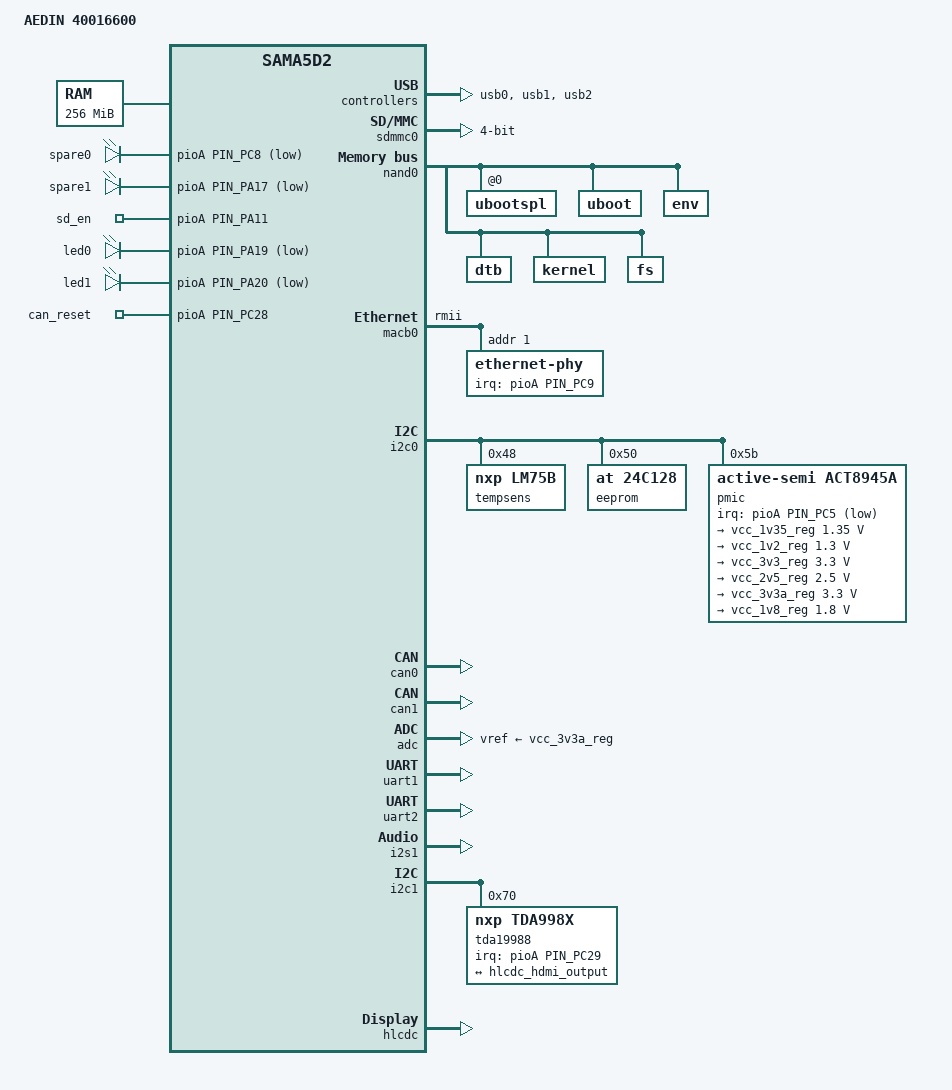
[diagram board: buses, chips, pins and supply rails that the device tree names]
/*
 * at91-sama5d2_aedin.dts - Device Tree file for the AEMICS DIN module processing board
 *
 *  Copyright (C) 2016 AEMICS
 */
/dts-v1/;
#include "sama5d2.dtsi"
#include "sama5d2-pinfunc.h"
#include <dt-bindings/gpio/gpio.h>

/ {
	model = "AEDIN 40016600";
	compatible = "atmel,sama5d2-aedin", "atmel,sama5d2", "atmel,sama5";

	chosen {
		stdout-path = "uart2:115200n8";
	};

	/* 64M x 16 x 2 = 256MB */
	memory {
		reg = <0x20000000 0x10000000>;
	};

	clocks {
		slow_xtal {
			clock-frequency = <32768>;
		};

		main_xtal {
			clock-frequency = <12000000>;
		};
	};
	
	outputs {
		compatible = "gpio-leds";
		pinctrl-names = "default";
		pinctrl-0 = <&pinctrl_spare_default &pinctrl_sdmmc0_pwren &pinctrl_leds_default &pinctrl_control_reset>;
		
		/* spare */
		spare0 {
			label = "spare0";
			gpios = <&pioA PIN_PC8 GPIO_ACTIVE_LOW>;
			linux,default-trigger = "heartbeat";
		};
		spare1 {
			label = "spare1";
			gpios = <&pioA PIN_PA17 GPIO_ACTIVE_LOW>;
			default-state = "off";
		};
		
		/* i6: sd card */
		sd_en {
			label = "sd_en";
			gpios = <&pioA PIN_PA11 GPIO_ACTIVE_HIGH>;
			default-state = "on";
		};
		
		/* i23: leds */
		led0 {
			label = "led0";
			gpios = <&pioA PIN_PA19 GPIO_ACTIVE_LOW>;
			linux,default-trigger = "cpu0";
		};
		led1 {
			label = "led1";
			gpios = <&pioA PIN_PA20 GPIO_ACTIVE_LOW>;
			linux,default-trigger = "nand-disk";
		};
		
		/* i32: can control */
		can_reset {
			label = "can_reset";
			gpios = <&pioA PIN_PC28 GPIO_ACTIVE_HIGH>;
			default-state = "off";
		};
	};
	
	inputs {
		pinctrl-names = "default";
		pinctrl-0 = <&pinctrl_hwrev_default &pinctrl_sdmmc0_ocn &pinctrl_charger_default &pinctrl_switches_default &pinctrl_optional_default>;
		
		/* hwrev */
		hwrev0 {
			label = "hwrev0";
			gpios = <&pioA PIN_PB7 GPIO_ACTIVE_HIGH>;
		};
		hwrev1 {
			label = "hwrev1";
			gpios = <&pioA PIN_PB8 GPIO_ACTIVE_HIGH>;
		};
		hwrev2 {
			label = "hwrev2";
			gpios = <&pioA PIN_PB9 GPIO_ACTIVE_HIGH>;
		};
		hwrev3 {
			label = "hwrev3";
			gpios = <&pioA PIN_PB10 GPIO_ACTIVE_HIGH>;
		};
		
		/* i6: sd card */
		sd_oc {
			label = "sd_oc";
			gpios = <&pioA PIN_PA14 GPIO_ACTIVE_LOW>;
		};
		
		/* i30: charger */
		pwr_stat {
			label = "pwr_stat";
			gpios = <&pioA PIN_PC3 GPIO_ACTIVE_HIGH>;
		};
		pwr_on_n {
			label = "pwr_on_n";
			gpios = <&pioA PIN_PC4 GPIO_ACTIVE_LOW>;
		};
		
		/* i44: dipswitches */
		sw0 {
			label = "sw0";
			gpios = <&pioA PIN_PC23 GPIO_ACTIVE_HIGH>;
		};
		sw1 {
			label = "sw1";
			gpios = <&pioA PIN_PC24 GPIO_ACTIVE_HIGH>;
		};
		sw2 {
			label = "sw2";
			gpios = <&pioA PIN_PC25 GPIO_ACTIVE_HIGH>;
		};
		
		/* i45: optional io */
		gio2 {
			label = "gio2";
			gpios = <&pioA PIN_PC12 GPIO_ACTIVE_HIGH>;
		};
		gio3 {
			label = "gio3";
			gpios = <&pioA PIN_PC13 GPIO_ACTIVE_HIGH>;
		};
		gio4 {
			label = "gio4";
			gpios = <&pioA PIN_PC14 GPIO_ACTIVE_HIGH>;
		};
		gio5 {
			label = "gio5";
			gpios = <&pioA PIN_PC15 GPIO_ACTIVE_HIGH>;
		};
		gio6 {
			label = "gio6";
			gpios = <&pioA PIN_PC16 GPIO_ACTIVE_HIGH>;
		};
		gio7 {
			label = "gio7";
			gpios = <&pioA PIN_PC17 GPIO_ACTIVE_HIGH>;
		};
	};
	
	ns_sram: sram@00200000 {
		label = "can_message_ram";
		pool;
	};
	
	ahb {
		/* i2: usb slave */
		usb0: gadget@00300000 {
			atmel,vbus-gpio = <&pioA PIN_PB6 GPIO_ACTIVE_HIGH>;
			pinctrl-names = "default";
			pinctrl-0 = <&pinctrl_usba_vbus>;
			status = "okay";
		};
		
		/* i3: usb host */
		usb1: ohci@00400000 {
			num-ports = <3>;
			atmel,vbus-gpio =
					  <0
					   &pioA PIN_PB3 GPIO_ACTIVE_LOW
					   &pioA PIN_PB4 GPIO_ACTIVE_LOW>;
			atmel,oc-gpio =
					  <0
					   &pioA PIN_PB5 GPIO_ACTIVE_LOW
					   0>;
			pinctrl-names = "default";
			pinctrl-0 = <&pinctrl_usb_default>;
			status = "okay";
		};
		usb2: ehci@00500000 {
			status = "okay";
		};
		
		/* i6: sd card (todo: pwr_en, pwr_oc_n) */
		sdmmc0: sdio-host@a0000000 {
			bus-width = <4>;
			pinctrl-names = "default";
			pinctrl-0 = <&pinctrl_sdmmc0_default>;
			status = "okay";
		};
		
		/* i22: nand */
		nand0: nand@80000000 {
			nand-bus-width = <8>;
			nand-ecc-mode = "hw";
			atmel,pmecc-cap = <4>;
			atmel,pmecc-sector-size = <512>;
			nand-on-flash-bbt;
			pinctrl-names = "default";
			pinctrl-0 = <&pinctrl_nand0_default>;
			status = "okay";
			
			ubootspl@0 {
				label = "ubootspl";
				reg = <0x0 0x40000>;
			};

			uboot@40000 {
				label = "uboot";
				reg = <0x40000 0xc0000>;
			};

			env@c0000 {
				label = "env";
				reg = <0x100000 0x80000>;
			};

			dtb@180000 {
				label = "dtb";
				reg = <0x180000 0x80000>;
			};

			kernel@200000 {
				label = "kernel";
				reg = <0x200000 0x800000>;
			};

			fs@a00000 {
				label = "fs";
				reg = <0xa00000 0x3f600000>;
			};
		};
		
		apb {
			pmc: pmc@f0014000 {
				pmc_fast_restart {
					compatible = "atmel,sama5d2-pmc-fast-startup";
					#address-cells = <1>;
					#size-cells = <0>;

					atmel,wakeup-rtc-timer;

					wkpin: input@0 {
						reg = <0>;
					};

					gmac_wol: input@10 {
						reg = <10>;
						atmel,wakeup-active-high;
					};
				};
			};
			
			shdwc@f8048010 {
				atmel,shdwc-debouncer = <976>;

				input@0 {
					reg = <0>;
					atmel,wakeup-type = "low";
				};
			};
			
			watchdog@f8048040 {
				status = "okay";
			};
			
			rtc@f80480b0 {
				assigned-clocks = <&clk32k>;
				assigned-clock-parents = <&slow_osc>;
			};
			
			/* i20: ethernet */
			macb0: ethernet@f8008000 {
				pinctrl-names = "default";
				pinctrl-0 = <&pinctrl_macb0_default &pinctrl_macb0_phy_irq>;
				phy-mode = "rmii";
				status = "okay";

				ethernet-phy@1 {
					reg = <0x1>;
					interrupt-parent = <&pioA>;
					interrupts = <PIN_PC9 IRQ_TYPE_LEVEL_LOW>;
				};
			};
			
			/* i24: i2c */
			i2c0: i2c@f8028000 {
				dmas = <0>, <0>;
				pinctrl-names = "default";
				pinctrl-0 = <&pinctrl_i2c0_default>;
				i2c-sda-hold-time-ns = <350>;
				status = "okay";

				tempsens@48 {
					compatible = "nxp,lm75b";
					reg = <0x48>;
				};
				
				eeprom@50 {
					compatible = "at,24c128";
					reg = <0x50>;
					
					#address-cells = <1>;
					#size-cells = <1>;
					eeprom_data: eeprom_data@0 {
						reg = <0 0x80>;
					};
				};
				
				pmic@5b {
					compatible = "active-semi,act8945a";
					reg = <0x5b>;
					
					active-semi,vsel-high;
					active-semi,irq_gpios = <&pioA PIN_PC5 GPIO_ACTIVE_LOW>;
					active-semi,input-voltage-threshold-microvolt = <6600>;
					active-semi,precondition-timeout = <40>;
					active-semi,total-timeout = <3>;

					pinctrl-names = "default";
					pinctrl-0 = <&pinctrl_charger_irq>;
					status = "okay";
					
					regulators {
						vcc_1v35_reg: REG_DCDC1 {
							regulator-name = "p1v35";
							regulator-min-microvolt = <1350000>;
							regulator-max-microvolt = <1350000>;
							regulator-always-on;
						};

						vcc_1v2_reg: REG_DCDC2 {
							regulator-name = "p1v2";
							regulator-min-microvolt = <1300000>;
							regulator-max-microvolt = <1300000>;
							regulator-always-on;
						};

						vcc_3v3_reg: REG_DCDC3 {
							regulator-name = "p3v3";
							regulator-min-microvolt = <3300000>;
							regulator-max-microvolt = <3300000>;
							regulator-always-on;
						};

						vcc_2v5_reg: REG_LDO1 {
							regulator-name = "p2v5";
							regulator-min-microvolt = <2500000>;
							regulator-max-microvolt = <2500000>;
							regulator-always-on;
						};

						vcc_3v3a_reg: REG_LDO2 {
							regulator-name = "p3v3_ana";
							regulator-min-microvolt = <3300000>;
							regulator-max-microvolt = <3300000>;
							regulator-always-on;
						};
						
						vcc_1v8_reg: REG_LDO4 {
							regulator-name = "p1v8";
							regulator-min-microvolt = <1800000>;
							regulator-max-microvolt = <1800000>;
							regulator-always-on;
						};
					};
				};
			};
			
			/* i25: can0 */
			can0: can@f8054000 {
				pinctrl-names = "default";
				pinctrl-0 = <&pinctrl_can0_default>;
				reg = <0xf8054000 0x4000>, <0x200000 0x10000>;
				bosch,mram-cfg = <0x0 0 0 64 64 0 0 1>;
				status = "okay";
			};
			
			/* i26: can1 */
			can1: can@fc050000 {
				pinctrl-names = "default";
				pinctrl-0 = <&pinctrl_can1_default>;
				reg = <0xfc050000 0x4000>, <0x200000 0x10000>;
				bosch,mram-cfg = <0x8000 0 0 64 64 0 0 1>;
				status = "okay";
			};
			
			/* i29: adc */
			adc: adc@fc030000 {
				vddana-supply = <&vcc_3v3a_reg>;
				vref-supply = <&vcc_3v3a_reg>;
				pinctrl-names = "default";
				pinctrl-0 = <&pinctrl_adc_default>;
				status = "okay";
			};
			
			/* i32: can control */
			uart1: serial@f8020000 {
				pinctrl-names = "default";
				pinctrl-0 = <&pinctrl_uart1_default>;
				status = "okay";
			};
			
			/* i45: optional io */
			uart2: serial@f8024000 {
				pinctrl-names = "default";
				pinctrl-0 = <&pinctrl_uart2_default>;
				status = "okay";
			};
			
			/* i46: hdmi */
			i2s1: i2s@fc04c000 {
				pinctrl-names = "default";
				pinctrl-0 = <&pinctrl_i2s1_default>;
				status = "okay";
			};
			i2c1: i2c@fc028000 {
				dmas = <0>, <0>;
				pinctrl-names = "default";
				pinctrl-0 = <&pinctrl_i2c1_default>;
				status = "okay";
				
				tda19988@70 {
					compatible = "nxp,tda998x";
					reg = <0x70>;
					interrupt-parent = <&pioA>;
					interrupts = <PIN_PC29 IRQ_TYPE_LEVEL_LOW>;
					
					port {
						#address-cells = <1>;
						#size-cells = <0>;

						hdmi_input: endpoint@0 {
							reg = <0>;
							remote-endpoint = <&hlcdc_hdmi_output>;
						};
					};
				};
			};
			hlcdc: hlcdc@f0000000 {
				status = "okay";
				
				hlcdc-display-controller {
					pinctrl-names = "default";
					pinctrl-0 = <&pinctrl_lcd_default>;
					simulate_vesa_sync;
					invert_pixel_clock;

					port@0 {
						hlcdc_hdmi_output: endpoint@0 {
							reg = <0>;
							remote-endpoint = <&hdmi_input>;
						};
					};
				};
			};
			
			pioA: pinctrl@fc038000 {
			
				/* leds */
				pinctrl_leds_default: leds_default {
					pinmux = <PIN_PA19__GPIO>,
						 <PIN_PA20__GPIO>;
					bias-disable;
				};
				
				/* spare */
				pinctrl_spare_default: spare_default {
					pinmux = <PIN_PC8__GPIO>,
						 <PIN_PA17__GPIO>;
					bias-disable;
				};
				
				/* hwrev */
				pinctrl_hwrev_default: hwrev_default {
					pinmux = <PIN_PB7__GPIO>,
						 <PIN_PB8__GPIO>,
						 <PIN_PB9__GPIO>,
						 <PIN_PB10__GPIO>;
					bias-disable;
				};
				
				/* i2: usb slave */
				pinctrl_usba_vbus: usba_vbus {
					pinmux = <PIN_PB6__GPIO>;
					bias-disable;
				};
				
				/* i3: usb host */
				pinctrl_usb_default: usb_default {
					pinmux = <PIN_PB3__GPIO>,
						 <PIN_PB4__GPIO>,
						 <PIN_PB5__GPIO>;
					bias-disable;
				};
				
				/* i6: sd card */
				pinctrl_sdmmc0_default: sdmmc0_default {
					cmd_data {
						pinmux = <PIN_PA1__SDMMC0_CMD>,
							 <PIN_PA2__SDMMC0_DAT0>,
							 <PIN_PA3__SDMMC0_DAT1>,
							 <PIN_PA4__SDMMC0_DAT2>,
							 <PIN_PA5__SDMMC0_DAT3>;
						bias-pull-up;
					};

					conf-ck_cd_wp {
						pinmux = <PIN_PA0__SDMMC0_CK>,
							 <PIN_PA13__SDMMC0_CD>,
							 <PIN_PA12__SDMMC0_WP>;
						bias-disable;
					};
				};
				pinctrl_sdmmc0_pwren: sdmmc0_pwren {
					pinmux = <PIN_PA11__GPIO>;
					bias-disable;
				};
				pinctrl_sdmmc0_ocn: sdmmc0_ocn {
					pinmux = <PIN_PA14__GPIO>;
					bias-disable;
				};
				
				/* i20: ethernet */
				pinctrl_macb0_default: macb0_default {
					pinmux = <PIN_PD9__GTXCK>,
						 <PIN_PD10__GTXEN>,
						 <PIN_PD11__GRXDV>,
						 <PIN_PD12__GRXER>,
						 <PIN_PD13__GRX0>,
						 <PIN_PD14__GRX1>,
						 <PIN_PD15__GTX0>,
						 <PIN_PD16__GTX1>,
						 <PIN_PD17__GMDC>,
						 <PIN_PD18__GMDIO>;
					bias-disable;
				};
				pinctrl_macb0_phy_irq: macb0_phy_irq {
					pinmux = <PIN_PC9__GPIO>;
					bias-disable;
				};
				
				/* i22: nand */
				pinctrl_nand0_default: nand0_default {
					data {
						pinmux = <PIN_PA21__NANDRDY>,
							 <PIN_PA22__D0>,
							 <PIN_PA23__D1>,
							 <PIN_PA24__D2>,
							 <PIN_PA25__D3>,
							 <PIN_PA26__D4>,
							 <PIN_PA27__D5>,
							 <PIN_PA28__D6>,
							 <PIN_PA29__D7>,
							 <PIN_PA31__NCS3>;
						bias-disable;
					};
					control {
						pinmux = <PIN_PA30__NWE_NANDWE>,
							 <PIN_PB0__A21_NANDALE>,
							 <PIN_PB1__A22_NANDCLE>,
							 <PIN_PB2__NRD_NANDOE>;
						bias-pull-up;
					};
				};
				
				/* i24: i2c */
				pinctrl_i2c0_default: i2c0_default {
					pinmux = <PIN_PD29__TWD0>,
						 <PIN_PD30__TWCK0>;
					bias-disable;
				};
				
				/* i25: can0 */
				pinctrl_can0_default: can0_default {
					pinmux = <PIN_PC10__CANTX0>,
						 <PIN_PC11__CANRX0>;
					bias-disable;
				};
				
				/* i26: can1 */
				pinctrl_can1_default: can1_default {
					pinmux = <PIN_PC26__CANTX1>,
						 <PIN_PC27__CANRX1>;
					bias-disable;
				};
				
				/* i29: adc */
				pinctrl_adc_default: adc_default {
					pinmux = <PIN_PD19__GPIO>,
						 <PIN_PD20__GPIO>,
						 <PIN_PD21__GPIO>,
						 <PIN_PD22__GPIO>,
						 <PIN_PD23__GPIO>,
						 <PIN_PD24__GPIO>,
						 <PIN_PD25__GPIO>,
						 <PIN_PD26__GPIO>,
						 <PIN_PD27__GPIO>,
						 <PIN_PD28__GPIO>;
					bias-disable;
				};
				
				/* i30: charger */
				pinctrl_charger_default: charger_default {
					pinmux = <PIN_PC3__GPIO>,
						 <PIN_PC4__GPIO>;
					bias-disable;
				};
				pinctrl_charger_irq: charger_irq {
					pinmux = <PIN_PC5__GPIO>;
					bias-disable;
				};
				
				/* i32: can control */
				pinctrl_control_reset: control_reset {
					pinmux = <PIN_PC28__GPIO>;
					bias-disable;
				};
				pinctrl_uart1_default: uart1_default {
					pinmux = <PIN_PD2__URXD1>,
						 <PIN_PD3__UTXD1>;
					bias-disable;
				};
				
				/* i44: dipswitches */
				pinctrl_switches_default: switches_default {
					pinmux = <PIN_PC23__GPIO>,
						 <PIN_PC24__GPIO>,
						 <PIN_PC25__GPIO>;
					bias-disable;
				};
				
				/* i45: optional io */
				pinctrl_optional_default: optional_default {
					pinmux = <PIN_PC12__GPIO>,
						 <PIN_PC13__GPIO>,
						 <PIN_PC14__GPIO>,
						 <PIN_PC15__GPIO>,
						 <PIN_PC16__GPIO>,
						 <PIN_PC17__GPIO>;
					bias-disable;
				};
				pinctrl_uart2_default: uart2_default {
					pinmux = <PIN_PD4__URXD2>,
						 <PIN_PD5__UTXD2>;
					bias-disable;
				};
				
				/* i46: hdmi */
				pinctrl_i2s1_default: i2s1_default {
					pinmux = <PIN_PA15__I2SC1_CK>,
						 <PIN_PA16__I2SC1_WS>,
						 <PIN_PA18__I2SC1_DO0>;
					bias-disable;
				};
				pinctrl_i2c1_default: i2c1_default {
					pinmux = <PIN_PC6__TWD1>,
						 <PIN_PC7__TWCK1>;
					bias-disable;
				};
				pinctrl_lcd_default: lcd_default {
					pinmux = <PIN_PB11__LCDDAT0>,
						 <PIN_PB12__LCDDAT1>,
						 <PIN_PB13__LCDDAT2>,
						 <PIN_PB14__LCDDAT3>,
						 <PIN_PB15__LCDDAT4>,
						 <PIN_PB16__LCDDAT5>,
						 <PIN_PB17__LCDDAT6>,
						 <PIN_PB18__LCDDAT7>,
						 <PIN_PB19__LCDDAT8>,
						 <PIN_PB20__LCDDAT9>,
						 <PIN_PB21__LCDDAT10>,
						 <PIN_PB22__LCDDAT11>,
						 <PIN_PB23__LCDDAT12>,
						 <PIN_PB24__LCDDAT13>,
						 <PIN_PB25__LCDDAT14>,
						 <PIN_PB26__LCDDAT15>,
						 <PIN_PB27__LCDDAT16>,
						 <PIN_PB28__LCDDAT17>,
						 <PIN_PB29__LCDDAT18>,
						 <PIN_PB30__LCDDAT19>,
						 <PIN_PB31__LCDDAT20>,
						 <PIN_PC0__LCDDAT21>,
						 <PIN_PC1__LCDDAT22>,
						 <PIN_PC2__LCDDAT23>,
						 <PIN_PC29__GPIO>,
						 <PIN_PC30__LCDVSYNC>,
						 <PIN_PC31__LCDHSYNC>,
						 <PIN_PD0__LCDPCK>,
						 <PIN_PD1__LCDDEN>;
					bias-disable;
				};
			};
		};
	};
};
